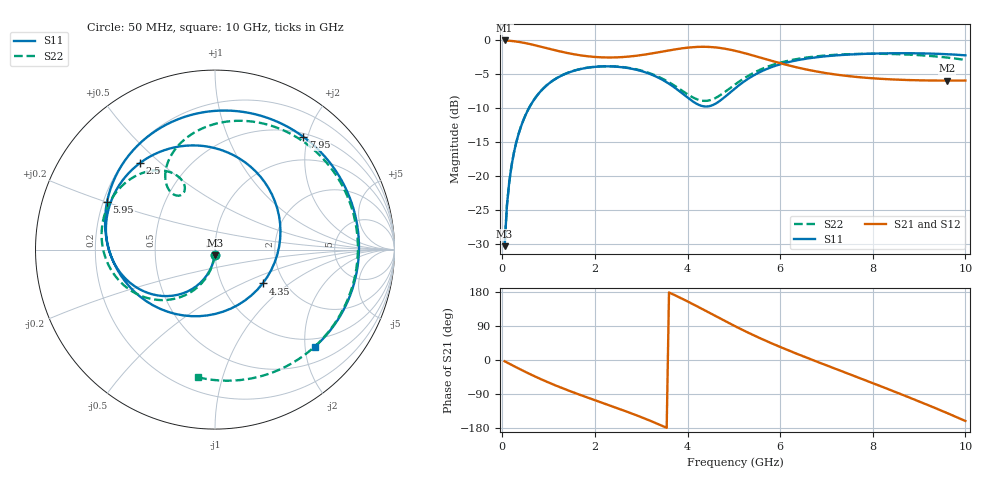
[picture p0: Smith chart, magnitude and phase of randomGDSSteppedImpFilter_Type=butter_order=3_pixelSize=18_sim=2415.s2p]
! freq	dB(S11)	phase(S11)	dB(S12)	phase(S12)
!  dB(S21)	phase(S21)	dB(S22)	phase(S22)
!S-par simulation data
#  GHz  S  DB  R 50
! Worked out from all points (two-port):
!   200 points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, 50 MHz to 10 GHz, reference 50 ohm
!   highest |S21| = -0.01 dB at 50 MHz (marker M1); lowest = -5.9 dB at 9.6 GHz (marker M2)
!   |S21| within 3 dB of the highest: start of sweep to 5.813 GHz
!   lowest |S11| = -30.4 dB at 50 MHz (marker M3), VSWR 1.06, Z = 49.7 - j3.01 ohm
!   |S11| at or under -10 dB: start of sweep to 576 MHz
!   |S22| runs from -30.4 to -2.0 dB; largest |S21 - S12| = 0
!   S11 on the Smith chart (normalised r, x): 50 MHz: 0.99, -0.06; 2.5 GHz: 0.26, +0.43; 4.35 GHz: 1.56, -0.66; 5.95 GHz: 0.22, +0.20; 7.95 GHz: 0.56, +1.93; 10 GHz: 0.81, -2.20
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0.05  -30.37 -93.5  -0.01 -3.3  -0.01 -3.3  -30.37 -93.2
0.1  -24.39 -97.1  -0.03 -6.5  -0.03 -6.5  -24.38 -96.5
0.2  -18.48 -104.0  -0.08 -12.9  -0.08 -12.9  -18.48 -102.8
0.5  -11.05 -123.5  -0.40 -31.4  -0.40 -31.4  -11.04 -120.5
1.05  -6.13 -155.8  -1.30 -62.0  -1.30 -62.0  -6.13 -149.3
1.75  -4.14 168.2  -2.26 -95.1  -2.26 -95.1  -4.13 -179.4
2.5  -3.90 130.7  -2.50 -127.9  -2.50 -127.9  -3.87 153.0
3  -4.52 102.3  -2.17 -150.8  -2.17 -150.8  -4.45 136.1
3.4  -5.60 74.7  -1.72 -170.9  -1.72 -170.9  -5.46 124.1
3.9  -7.90 27.7  -1.15 160.7  -1.15 160.7  -7.50 115.4
4.35  -9.74 -35.3  -0.94 132.4  -0.94 132.4  -8.92 120.7
4.7  -8.91 -89.7  -1.11 109.8  -1.11 109.8  -8.12 127.3
5.05  -6.95 -132.6  -1.57 87.7  -1.57 87.7  -6.39 125.2
5.5  -4.90 -172.9  -2.39 61.2  -2.39 61.2  -4.54 112.9
5.95  -3.63 156.0  -3.27 37.0  -3.27 37.0  -3.38 96.4
6.7  -2.56 113.4  -4.48 0.1  -4.48 0.1  -2.41 66.0
7.3  -2.17 83.2  -5.13 -28.2  -5.13 -28.2  -2.09 40.4
7.95  -1.96 51.9  -5.57 -58.7  -5.57 -58.7  -1.97 11.3
8.35  -1.90 33.1  -5.74 -77.7  -5.74 -77.7  -2.00 -7.5
9  -1.91 2.7  -5.89 -109.3  -5.89 -109.3  -2.18 -39.9
9.6  -2.04 -25.4  -5.93 -139.7  -5.93 -139.7  -2.53 -73.0
10  -2.20 -44.3  -5.93 -160.9  -5.93 -160.9  -2.88 -97.5
